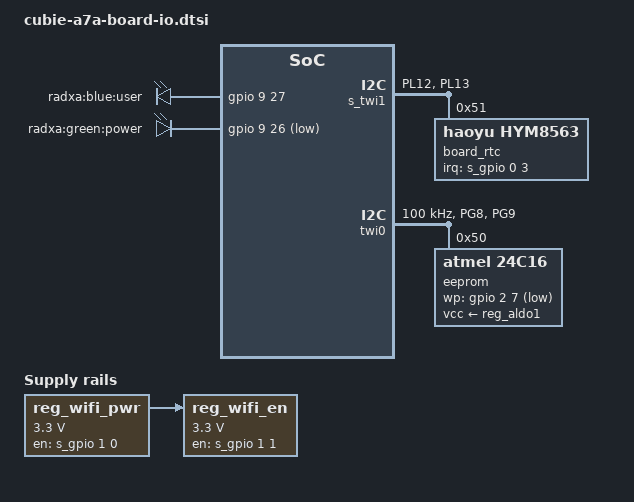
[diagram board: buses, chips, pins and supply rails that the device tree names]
// SPDX-License-Identifier: (GPL-2.0-only OR MIT)
/* Cubie A7A V1.10 sheets7/19: PL12/PL13 S_TWI1, PL3 RTC_INT_L.
 * A733 PL_CFG1 PL12/13_SELECT=3. Existing HYM8563 Linux consumer.
 * Linux HYM8563 enables device wakeup when an IRQ exists, even without
 * wakeup-source. Parent IRQ wake and system suspend acceptance remain open.
 */
/ {
	aliases {
		/* Exact Fedora HCTOSYS uses rtc0; reserve battery RTC ID0. */
		rtc0 = &board_rtc;
		rtc1 = &rtc;
	};
};

&s_gpio {
	s_i2c1_pl1213_pins: s-i2c1-pl1213-pins {
		pins = "PL12", "PL13";
		allwinner,pinmux = <3>;
		function = "s_i2c1";
	};
};

&s_twi1 {
	pinctrl-names = "default";
	pinctrl-0 = <&s_i2c1_pl1213_pins>;
	status = "okay";

	board_rtc: rtc@51 {
		compatible = "haoyu,hym8563";
		reg = <0x51>;
		interrupt-parent = <&s_gpio>;
		interrupts = <0 3 IRQ_TYPE_LEVEL_LOW>;
		#clock-cells = <0>;
	};
};

/* Sheet19: PJ27 directly sources blue LED; PJ26 high shunts green via Q11. */
/ {
	leds {
		compatible = "gpio-leds";

		led-blue {
			label = "radxa:blue:user";
			gpios = <&gpio 9 27 GPIO_ACTIVE_HIGH>;
			linux,default-trigger = "heartbeat";
		};

		led-green {
			label = "radxa:green:power";
			gpios = <&gpio 9 26 GPIO_ACTIVE_LOW>;
			default-state = "on";
		};
	};
};

&gpio {
	/* V1.10 sheet7 R251/R107 connect actual bank rails to SWOUT1. */
	vcc-pd-supply = <&reg_swout1>;
	vcc-pj-supply = <&reg_swout1>;
	/*
	 * Sheet7 draws the VCC-PG ball (1R5) to VCC-PL (ALDO1, 3.3 V) through
	 * RA19 0R, with the TWI0 pull-ups R76/R77 (2.2K) on PG8/PG9 to VCC-PL
	 * as well. Sheet4's BLDO5 "VCC-PG" is a net label, not that ball
	 * (as with PD/PJ). With BLDO5 (1.8 V) here the pin controller would
	 * set PG to 1.8 V mode while its pads and the bus run at 3.3 V.
	 */
	vcc-pg-supply = <&reg_aldo1>;

	twi0_pg89_pins: twi0-pg89-pins {
		pins = "PG8", "PG9";
		allwinner,pinmux = <6>; /* A733 PG_CFG1: TWI0 SCK/SDA */
		function = "i2c0";
	};
};

&twi0 {
	pinctrl-names = "default";
	pinctrl-0 = <&twi0_pg89_pins>;
	clock-frequency = <100000>;
	status = "okay";

	eeprom@50 {
		compatible = "atmel,24c16";
		reg = <0x50>;
		vcc-supply = <&reg_aldo1>;
		/* BL24C16F identity layout is unknown; expose raw read-only NVMEM. */
		read-only;
		/*
		 * Q10 inverts PC7: low keeps the transistor off and R207 pulls
		 * WP high; PC7 high enables writes, so WP is asserted when PC7
		 * is low. The nvmem core requests wp-gpios asserted at
		 * registration and AT24 does not opt out. Not a gpio-hog: the
		 * 7.3 core hog parser takes the first "gpios" cell (bank) as the
		 * line offset and fails the whole controller with 3 cells.
		 * Never copy the vendor always-on PC7 regulator.
		 */
		wp-gpios = <&gpio 2 7 GPIO_ACTIVE_LOW>; /* PC7 */
	};
};

/*
 * Wi-Fi/BT module (FCU760K, AIC8800D80 on USB behind the FE1.1S hub, port 4).
 * PM0 switches the module's power, PM1 is its WL_REG_ON chip enable; both
 * active-high, PM0 first (the vendor DT uses two always-on fixed regulators
 * with a 1 ms ramp). Without them the module never appears on USB; driving
 * both high by hand made it enumerate as a69c:8d80 (2026-11-11).
 */
/ {
	reg_wifi_pwr: regulator-wifi-pwr {
		compatible = "regulator-fixed";
		regulator-name = "wifi-pwr";
		regulator-min-microvolt = <3300000>;
		regulator-max-microvolt = <3300000>;
		gpio = <&s_gpio 1 0 GPIO_ACTIVE_HIGH>; /* PM0 */
		enable-active-high;
		regulator-enable-ramp-delay = <1000>;
		regulator-always-on;
		regulator-boot-on;
	};

	reg_wifi_en: regulator-wifi-en {
		compatible = "regulator-fixed";
		regulator-name = "wifi-chip-en";
		regulator-min-microvolt = <3300000>;
		regulator-max-microvolt = <3300000>;
		gpio = <&s_gpio 1 1 GPIO_ACTIVE_HIGH>; /* PM1, WL_REG_ON */
		enable-active-high;
		vin-supply = <&reg_wifi_pwr>;
		regulator-enable-ramp-delay = <1000>;
		regulator-always-on;
		regulator-boot-on;
	};
};
